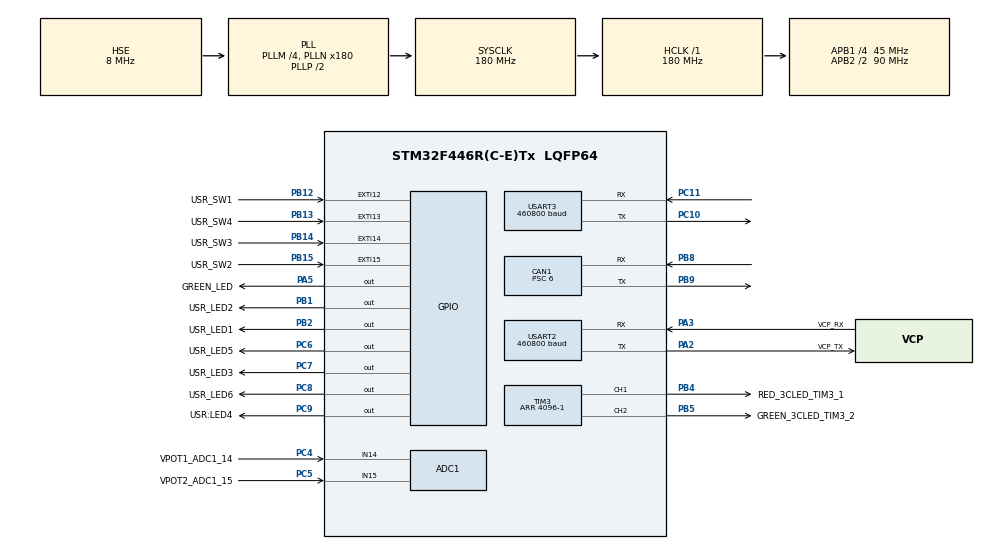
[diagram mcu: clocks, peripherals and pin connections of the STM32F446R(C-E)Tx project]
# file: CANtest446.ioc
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Mcu.Family=STM32F4
NVIC.USART3_IRQn=true\:5\:0\:true\:false\:true\:true\:true
CAN1.NART=ENABLE
PH0-OSC_IN.Signal=RCC_OSC_IN
RCC.CortexFreq_Value=180000000
PC10.Signal=USART3_TX
PB14.GPIO_Label=USR_SW3
PA14.GPIO_Label=SWCLK
PB2.GPIO_Speed=GPIO_SPEED_FREQ_MEDIUM
PC6.GPIO_Label=USR_LED5
PB13.GPIO_Label=USR_SW4
PB13.Signal=GPXTI13
PB15.Signal=GPXTI15
RCC.SYSCLKSource=RCC_SYSCLKSOURCE_PLLCLK
ProjectManager.StackSize=0x400
NVIC.ADC_IRQn=true\:3\:0\:true\:false\:true\:true\:true
TIM1.Prescaler=180-1
USART3.BaudRate=460800
RCC.HCLKFreq_Value=180000000
RCC.APB2TimFreq_Value=180000000
TIM3.Period=4096-1
VP_TIM10_VS_ClockSourceINT.Mode=Enable_Timer
PC7.Signal=GPIO_Output
ADC1.InjNumberOfConversion=2
RCC.AHBFreq_Value=180000000
PH0-OSC_IN.Mode=HSE-External-Oscillator
TIM3.Channel-PWM\ Generation1\ CH1=TIM_CHANNEL_1
NVIC.EXTI15_10_IRQn=true\:8\:0\:true\:false\:true\:true\:true
ADC1.Channel-0\#ChannelRegularConversion=ADC_CHANNEL_14
ADC1.ExternalTrigInjecConv=ADC_EXTERNALTRIGINJECCONV_T1_TRGO
RCC.HSE_VALUE=8000000
PB2.Signal=GPIO_Output
ADC1.ScanConvMode=ENABLE
SH.ADCx_IN15.0=ADC1_IN15,IN15
PB12.GPIO_Label=USR_SW1
PC14-OSC32_IN.Mode=LSE-External-Oscillator
PC4.GPIO_Label=VPOT1_ADC1_14
PB1.GPIO_Speed=GPIO_SPEED_FREQ_MEDIUM
PA14.Mode=Serial_Wire
PB1.GPIO_Label=USR_LED2
SH.S_TIM3_CH1.0=TIM3_CH1,PWM Generation1 CH1
VP_TIM1_VS_ClockSourceINT.Mode=Internal
ADC1.SamplingTime-0\#ChannelRegularConversion=ADC_SAMPLETIME_3CYCLES
RCC.FLatency-AdvancedSettings=FLASH_LATENCY_5
PH1-OSC_OUT.Mode=HSE-External-Oscillator
CAN1.Prescaler=6
Mcu.Package=LQFP64
PB9.Signal=CAN1_TX
PB1.Signal=GPIO_Output
SH.ADCx_IN14.0=ADC1_IN14,IN14
USART2.VirtualMode=VM_ASYNC
ADC1.SamplingTime-1\#ChannelInjectedConversion=ADC_SAMPLETIME_15CYCLES
PA2.GPIO_Label=VCP_TX
PC8.GPIO_Speed=GPIO_SPEED_FREQ_MEDIUM
PC11.Mode=Asynchronous
RCC.APB2CLKDivider=RCC_HCLK_DIV2
PB5.GPIO_Label=GREEN_3CLED_TIM3_2
RCC.APB1TimFreq_Value=90000000
PC5.Signal=ADCx_IN15
TIM1.Period=250-1
CAN1.CalculateTimeBit=1999.99
ADC1.SamplingTime-2\#ChannelInjectedConversion=ADC_SAMPLETIME_15CYCLES
PC6.GPIO_Speed=GPIO_SPEED_FREQ_MEDIUM
ADC1.EOCSelection=ADC_EOC_SEQ_CONV
VP_TIM3_VS_ClockSourceINT.Mode=Internal
PB4.Signal=S_TIM3_CH1
PA3.Signal=USART2_RX
CAN1.CalculateTimeQuantum=133.33333333333331
PB14.GPIO_ModeDefaultEXTI=GPIO_MODE_IT_RISING_FALLING
RCC.PLLSourceVirtual=RCC_PLLSOURCE_HSE
TIM10.Prescaler=18000-1
PC15-OSC32_OUT.Mode=LSE-External-Oscillator
ADC1.Rank-0\#ChannelRegularConversion=1
PC9.GPIO_Label=USR\:LED4
PC11.Signal=USART3_RX
CAN1.CalculateBaudRate=500000
PC8.Signal=GPIO_Output
PC4.Signal=ADCx_IN14
PC6.Signal=GPIO_Output
PC10.Mode=Asynchronous
RCC.APB1CLKDivider=RCC_HCLK_DIV4
PC14-OSC32_IN.Signal=RCC_OSC32_IN
PB13.GPIO_ModeDefaultEXTI=GPIO_MODE_IT_RISING_FALLING
NVIC.USART2_IRQn=true\:4\:0\:true\:false\:true\:true\:true
USART2.BaudRate=460800
PC8.GPIO_Label=USR_LED6
PA3.Mode=Asynchronous
PA13.Signal=SYS_JTMS-SWDIO
CAN1.BS2=CAN_BS2_2TQ
CAN1.BS1=CAN_BS1_12TQ
ProjectManager.TargetToolchain=STM32CubeIDE
ADC1.Channel-2\#ChannelInjectedConversion=ADC_CHANNEL_14
PB9.Mode=CAN_Activate
ADC1.InjectedOffset-2\#ChannelInjectedConversion=0
ADC1.Channel-1\#ChannelInjectedConversion=ADC_CHANNEL_15
RCC.USBFreq_Value=180000000
PC15-OSC32_OUT.Signal=RCC_OSC32_OUT
PB14.Signal=GPXTI14
PA5.Signal=GPIO_Output
SH.S_TIM3_CH2.0=TIM3_CH2,PWM Generation2 CH2
PB15.GPIO_ModeDefaultEXTI=GPIO_MODE_IT_RISING_FALLING
board=NUCLEO-F446RE
PC7.GPIO_Speed=GPIO_SPEED_FREQ_MEDIUM
RCC.VCOOutputFreq_Value=360000000
TIM10.Period=1000-1
TIM1.TIM_MasterOutputTrigger=TIM_TRGO_UPDATE
RCC.APB2Freq_Value=90000000
PB4.GPIO_Label=RED_3CLED_TIM3_1
PB15.GPIO_Label=USR_SW2
ADC1.InjectedOffset-1\#ChannelInjectedConversion=0
PH1-OSC_OUT.Signal=RCC_OSC_OUT
PA13.Mode=Serial_Wire
Mcu.Name=STM32F446R(C-E)Tx
PA2.Signal=USART2_TX
PA13.GPIO_Label=SWDIO
PC7.GPIO_Label=USR_LED3
RCC.48MHZClocksFreq_Value=84000000
RCC.SYSCLKFreq_VALUE=180000000
PB5.Signal=S_TIM3_CH2
ADC1.master=1
PA5.GPIO_Label=GREEN_LED
PC5.GPIO_Label=VPOT2_ADC1_15
USART3.VirtualMode=VM_ASYNC
PA14.Signal=SYS_JTCK-SWCLK
PB2.GPIO_Label=USR_LED1
ProjectManager.HeapSize=0x200
PB12.GPIO_ModeDefaultEXTI=GPIO_MODE_IT_RISING_FALLING
NVIC.TIM1_UP_TIM10_IRQn=true\:1\:0\:true\:false\:true\:true\:true
RCC.HSI_VALUE=16000000
PA5.GPIO_Speed=GPIO_SPEED_FREQ_MEDIUM
PC9.GPIO_Speed=GPIO_SPEED_FREQ_MEDIUM
NVIC.PriorityGroup=NVIC_PRIORITYGROUP_4
ADC1.NbrOfConversionFlag=1
TIM3.Channel-PWM\ Generation2\ CH2=TIM_CHANNEL_2
RCC.PLLM=4
PB8.Mode=CAN_Activate
RCC.PLLN=180
PA2.Mode=Asynchronous
PB8.Signal=CAN1_RX
ADC1.InjectedRank-1\#ChannelInjectedConversion=1
PC9.Signal=GPIO_Output
RCC.APB1Freq_Value=45000000
ADC1.ClockPrescaler=ADC_CLOCK_SYNC_PCLK_DIV8
PB12.Signal=GPXTI12
NVIC.CAN1_RX0_IRQn=true\:2\:0\:true\:false\:true\:true\:true
PA3.GPIO_Label=VCP_RX
ADC1.InjectedRank-2\#ChannelInjectedConversion=2

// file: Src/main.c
/* USER CODE BEGIN Header */
/**
  ******************************************************************************
  * @file           : main.c
  * @brief          : Main program body
  ******************************************************************************
  * @attention
  *
  * <h2><center>&copy; Copyright (c) 2019 STMicroelectronics.
  * All rights reserved.</center></h2>
  *
  * This software component is licensed by ST under BSD 3-Clause license,
  * the "License"; You may not use this file except in compliance with the
  * License. You may obtain a copy of the License at:
  *                        opensource.org/licenses/BSD-3-Clause
  *
  ******************************************************************************
  */
/* USER CODE END Header */
#include "main.h"

/* USER CODE BEGIN Includes */

#include "usart3_itcbuf.h"
#include "adc1_itinj.h"
#include <stdio.h>
#include <string.h>
#include <math.h>

/* USER CODE END Includes */

/* USER CODE BEGIN PD */

#define	CTRLLOOP_PER	4				// Control Loop Period (x TIM1)
#define	SWBLOCK_PER		50				// Switch Block Period (x SysTick)
#define	ERRSIGN_PER		100				// Error Signal Duration (x SysTick)
#define	INMSG_SIZE		64				// Input message size

#define	GREEN_LED		1				// 3-color LED identifier
#define	RED_LED			2				// 3-color LED identifier

#define	OPMODE_NUL		0x00			// Operation Mode
#define	OPMODE_S1		0x01			// Operation Mode
#define	OPMODE_S2		0x02			// Operation Mode
#define	OPMODE_S3		0x04			// Operation Mode
#define	OPMODE_REMOTE	0x08			// Operation Mode
#define	OPMODE_BMASK	0x0F			// Operation Mode

#define	CAN_TXID_POT1	0x011			// CAN Arb. ID for Sending POT1
#define	CAN_TXID_POT2	0x012			// CAN Arb. ID for Sending POT2
#define	CAN_TXID_OPMS	0x013			// CAN Arb. ID for Sending Op.Mode

#define	CAN_RXID_REM1	0x621			// CAN Arb. ID for Receiving REM1
#define	CAN_RXID_REM2	0x622			// CAN Arb. ID for Receiving REM2
#define	CAN_RXID_OPMR	0x623			// CAN Arb. ID for Receiving Op.Mode

/* My code from here */
#define CAN_RXID_RESP_SERVO 	0x689
#define CAN_RXID_RESP_WHEEL1	0x589
#define CAN_RXID_RESP_WHEEL2	0x591
#define CAN_RXID_RESP_WHEEL3	0x599
#define CAN_RXID_RESP_WHEEL4	0x5A1
#define CAN_RXID_STATUS_POWER	0x70C
#define CAN_RXID_MEAS_WHEEL1	0x58B
#define CAN_RXID_MEAS_WHEEL2	0x593
#define CAN_RXID_MEAS_WHEEL3	0x59B
#define CAN_RXID_MEAS_WHEEL4	0x5A3
#define CAN_RXID_MEAS_SERVO		0x68B

#define USR_LED1_PIN GPIO_PIN_8
#define USR_LED2_PIN GPIO_PIN_6
#define USR_LED3_PIN GPIO_PIN_2
#define USR_LED4_PIN GPIO_PIN_1

#define USR_LED1_PORT GPIOC
#define USR_LED2_PORT GPIOC
#define USR_LED3_PORT GPIOB
#define USR_LED4_PORT GPIOB

#define CAN_MESSAGETYPE_COMMAND 0x00
#define CAN_MESSAGETYPE_CONFIG 0x05
#define CAN_MESSAGETYPE_REFERENCE 0x02

#define CMD_DISCOVER 0x90
#define CMD_DRIVE_STATE 0x50
#define CMD_MODE 0x10
#define CMD_VSRV 0x20
#define CMD_HVDC 0x30

#define VSRV_ON 0x01
#define VSRV_OFF 0x02
#define HVDC_ON 0x01
#define HVDC_OFF 0x02

#define MODE_IDLE 0x11
#define MODE_DRIVE 0x12

#define STATE_STOPPED 0x00
#define STATE_STARTED 0x01

#define CFG_CONTROL_MODE 0x01
#define CONTROL_TORQUE 0x01
#define CONTROL_VELOCITY 0x02

/* Steering Servo Communication */
#define SERVO_MODE_START 0x0B
#define SERVO_MODE_IDLE 0xB0

/* USER CODE END PD */

ADC_HandleTypeDef hadc1;

CAN_HandleTypeDef hcan1;

TIM_HandleTypeDef htim1;
TIM_HandleTypeDef htim3;
TIM_HandleTypeDef htim10;

UART_HandleTypeDef huart2;
UART_HandleTypeDef huart3;

/* USER CODE BEGIN PV */
/* Private variables ---------------------------------------------------------*/

volatile uint16_t secCnt = 0;			// Second Counter for SysTick
volatile uint16_t ctrlTick = 0;			// Control Tick Signal
volatile uint16_t ctrlCnt = 0;			// Control Period Counter
volatile uint16_t blinkCnt = 0;			// Blink Period Counter

volatile uint16_t led5signCnt = 0;		// User LED 5 Signal counter
volatile uint16_t led6signCnt = 0;		// User LED 6 Signal counter

volatile uint8_t sw1Block = 0;			// Blocking Period counter for SW1
volatile uint8_t sw2Block = 0;			// Blocking Period counter for SW2
volatile uint8_t sw3Block = 0;			// Blocking Period counter for SW3
volatile uint8_t sw4Block = 0;			// Blocking Period counter for SW4

static uint16_t pot1Val = 0xFFFF;		// Actual value of Potentiometer 1
static uint16_t pot2Val = 0xFFFF;		// Actual value of Potentiometer 2
static uint16_t rem1Val = 0xFFFF;		// Actual Remote value 1
static uint16_t rem2Val = 0xFFFF;		// Actual Remote value 2

static uint8_t inmsgBuf[INMSG_SIZE];	// UART Receive Command Buffer
static uint32_t inmsgPnt = 0;			// UART Receive Command Pointer

TIM_OC_InitTypeDef sConfigOC;			// Config structure for setting TIM3

static uint8_t operMode = OPMODE_NUL;	// Operation Mode
static uint8_t opModeRecv = OPMODE_NUL;	// Operation Mode Received

/* My code from here */
CAN_TxHeaderTypeDef   TxHeader;
CAN_RxHeaderTypeDef   RxHeader;
uint8_t               TxData[8];
uint8_t               RxData[8];
uint32_t              TxMailbox;
uint8_t 			  RxDataUART;

uint8_t TxData[8];
float iRef;
float vRef;

enum state{START1, START2, START3, DRIVE, ERR};
enum state activeState = START1;
enum state prevState = START1;

struct Flag{
	uint16_t DSS : 1;
	uint16_t DW1 : 1;
	uint16_t DW2 : 1;
	uint16_t DW3 : 1;
	uint16_t DW4 : 1;
	uint16_t LV  : 2;
	uint16_t HV  : 2;
};
struct Reference{
	float current;
	float velocity;
	float steeringAngle;
};

struct Measurement {
	float currentW1;
	float currentW2;
	float currentW3;
	float currentW4;
	float velocityW1;
	float velocityW2;
	float velocityW3;
	float velocityW4;
	int16_t angleSS;
};

struct Flag flag;
struct Reference ref;
struct Measurement meas;

/*-----	Memory constants -----------------------------------------------------*/

static const char greetMsg[] = "\r\n\n-- 4WD e-Vehicle --\n\r";

/* USER CODE END PV */

void SystemClock_Config(void);
static void MX_GPIO_Init(void);
static void MX_ADC1_Init(void);
static void MX_CAN1_Init(void);
static void MX_USART2_UART_Init(void);
static void MX_TIM1_Init(void);
static void MX_USART3_UART_Init(void);
static void MX_TIM3_Init(void);
static void MX_TIM10_Init(void);
/* USER CODE BEGIN PFP */

void Operate3colorLED(int led, uint16_t intens);
void SendOperModeToCAN(void);
void UpdateOperModeLEDs(void);

/* My code from here */
void CAN1_Tx(uint8_t *data, uint8_t DLC, uint16_t ID);
void ConfigureWheelDrive(uint16_t wheel, uint16_t controlMode, uint16_t mode, uint16_t driveState);
void ConfigureSteeringServo(uint8_t mode);
void SendWheelReferenceMsg(uint8_t deviceID, float iRef, float vRef);
void SendServoReferenceMsg();
void ConfigureServoNullpoint();
void Ackermann();
void DiscoverUnits();
void StateTransition();
void UART2_RX();
uint32_t CANid(uint16_t class, uint16_t device, uint16_t type);

/* USER CODE END PFP */

int main(void)
{
  /* USER CODE BEGIN 1 */
  int status;
  uint16_t value;
  char message[18];
  uint8_t rch;
  int ch;
  uint16_t uarg;
  uint16_t timer_val;

  /* USER CODE END 1 */

  /* MCU Configuration--------------------------------------------------------*/

  /* Reset of all peripherals, Initializes the Flash interface and the Systick. */
  HAL_Init();

  /* Configure the system clock */
  SystemClock_Config();

  /* Initialize all configured peripherals */
  MX_GPIO_Init();
  MX_ADC1_Init();
  MX_CAN1_Init();
  MX_USART2_UART_Init();
  MX_TIM1_Init();
  MX_USART3_UART_Init();
  MX_TIM3_Init();
  MX_TIM10_Init();
  /* USER CODE BEGIN 2 */

	HAL_TIM_PWM_Start(&htim3, TIM_CHANNEL_1);
	HAL_TIM_PWM_Start(&htim3, TIM_CHANNEL_2);
	sConfigOC.OCMode = TIM_OCMODE_PWM1;
	sConfigOC.OCPolarity = TIM_OCPOLARITY_HIGH;
	sConfigOC.OCFastMode = TIM_OCFAST_DISABLE;
	sConfigOC.OCIdleState = TIM_OCIDLESTATE_RESET;

	HAL_TIM_Base_Start_IT(&htim1);
	InitADCmodule();

	StartUARTCommunication();
	PutsTxData((uint8_t*)greetMsg,strlen(greetMsg));
	sprintf(message,"State: START1 \n\r");
	PutsTxData((uint8_t *)message,strlen(message));

	HAL_CAN_ActivateNotification(&hcan1, CAN_IT_RX_FIFO0_MSG_PENDING);

	ref.velocity = 0;
	ref.current = 0;
	ref.steeringAngle = 0;

	meas.angleSS = 0;
	meas.currentW1 = 0;
	meas.currentW2 = 0;
	meas.currentW3 = 0;
	meas.currentW4 = 0;
	meas.velocityW1 = 0;
	meas.velocityW2 = 0;
	meas.velocityW3 = 0;
	meas.velocityW4 = 0;

  /* USER CODE END 2 */

  /* Infinite loop */
  /* USER CODE BEGIN WHILE */
  while (1)
  {
	// Waiting for Control Tick signal
	//while (ctrlTick == 0) continue;
	//ctrlTick = 0;

	/* My code from here */
	if (prevState != activeState) StateTransition();
	prevState = activeState;

	switch (activeState){
		case START1:
			/* Turn on VSRV */
			TxData[0] = CMD_VSRV;
			TxData[1] = VSRV_ON;
			CAN1_Tx(TxData, 2, CANid(0x0E, 0x01, 0x0));
			HAL_Delay(1500);

			/* Turn on HVDC */
			TxData[0] = CMD_HVDC;
			TxData[1] = HVDC_ON;
			CAN1_Tx(TxData, 2, CANid(0x0E,0x01,0x00));
			HAL_Delay(1500);

/*---------------------DELETE AFTER DEBUG----------------------------------------------------------------------------------------------------- */
			flag.LV = 1;
			flag.HV = 1;
/*---------------------DELETE AFTER DEBUG----------------------------------------------------------------------------------------------------- */
			if (flag.LV == 1 && flag.HV == 1) activeState = START2;
			else activeState = ERR;
			break;

		case START2:
			DiscoverUnits();
			HAL_Delay(1000);

/*---------------------DELETE AFTER DEBUG----------------------------------------------------------------------------------------------------- */
			flag.DSS = 1;
			flag.DW1 = 1;
			flag.DW2 = 1;
			flag.DW3 = 1;
			flag.DW4 = 1;
/*---------------------DELETE AFTER DEBUG----------------------------------------------------------------------------------------------------- */

			if (flag.DSS && flag.DW1 && flag.DW2 && flag.DW3 && flag.DW4) activeState = START3;
			else activeState = ERR;
			break;

		case START3:
			ConfigureSteeringServo(SERVO_MODE_START);

			ConfigureWheelDrive(0x01, CONTROL_VELOCITY, MODE_DRIVE, STATE_STARTED); /* FR */
			ConfigureWheelDrive(0x02, CONTROL_VELOCITY, MODE_DRIVE, STATE_STARTED); /* FL */
			ConfigureWheelDrive(0x03, CONTROL_VELOCITY, MODE_DRIVE, STATE_STARTED); /* RL */
			ConfigureWheelDrive(0x04, CONTROL_VELOCITY, MODE_DRIVE, STATE_STARTED); /* RR */

			// check if measurement data is coming in
			activeState = DRIVE;
			break;

		case DRIVE:
			// Start timer for periodic reference messages
			HAL_TIM_Base_Start_IT(&htim10);

			break;
		case ERR:
			ConfigureSteeringServo(SERVO_MODE_IDLE);

			ConfigureWheelDrive(0x01, CONTROL_VELOCITY, MODE_DRIVE, STATE_STOPPED); /* FR */
			ConfigureWheelDrive(0x02, CONTROL_VELOCITY, MODE_DRIVE, STATE_STOPPED); /* FL */
			ConfigureWheelDrive(0x03, CONTROL_VELOCITY, MODE_DRIVE, STATE_STOPPED); /* RL */
			ConfigureWheelDrive(0x04, CONTROL_VELOCITY, MODE_DRIVE, STATE_STOPPED); /* RR */

			HAL_TIM_Base_Stop_IT(&htim10);
			break;

	}
    /* USER CODE END WHILE */

  }
}

void SystemClock_Config(void)
{
  RCC_OscInitTypeDef RCC_OscInitStruct = {0};
  RCC_ClkInitTypeDef RCC_ClkInitStruct = {0};

  /** Configure the main internal regulator output voltage
  */
  __HAL_RCC_PWR_CLK_ENABLE();
  __HAL_PWR_VOLTAGESCALING_CONFIG(PWR_REGULATOR_VOLTAGE_SCALE1);
  /** Initializes the RCC Oscillators according to the specified parameters
  * in the RCC_OscInitTypeDef structure.
  */
  RCC_OscInitStruct.OscillatorType = RCC_OSCILLATORTYPE_HSE;
  RCC_OscInitStruct.HSEState = RCC_HSE_ON;
  RCC_OscInitStruct.PLL.PLLState = RCC_PLL_ON;
  RCC_OscInitStruct.PLL.PLLSource = RCC_PLLSOURCE_HSE;
  RCC_OscInitStruct.PLL.PLLM = 4;
  RCC_OscInitStruct.PLL.PLLN = 180;
  RCC_OscInitStruct.PLL.PLLP = RCC_PLLP_DIV2;
  RCC_OscInitStruct.PLL.PLLQ = 2;
  RCC_OscInitStruct.PLL.PLLR = 2;
  if (HAL_RCC_OscConfig(&RCC_OscInitStruct) != HAL_OK)
  {
    Error_Handler();
  }
  /** Activate the Over-Drive mode
  */
  if (HAL_PWREx_EnableOverDrive() != HAL_OK)
  {
    Error_Handler();
  }
  /** Initializes the CPU, AHB and APB buses clocks
  */
  RCC_ClkInitStruct.ClockType = RCC_CLOCKTYPE_HCLK|RCC_CLOCKTYPE_SYSCLK
                              |RCC_CLOCKTYPE_PCLK1|RCC_CLOCKTYPE_PCLK2;
  RCC_ClkInitStruct.SYSCLKSource = RCC_SYSCLKSOURCE_PLLCLK;
  RCC_ClkInitStruct.AHBCLKDivider = RCC_SYSCLK_DIV1;
  RCC_ClkInitStruct.APB1CLKDivider = RCC_HCLK_DIV4;
  RCC_ClkInitStruct.APB2CLKDivider = RCC_HCLK_DIV2;

  if (HAL_RCC_ClockConfig(&RCC_ClkInitStruct, FLASH_LATENCY_5) != HAL_OK)
  {
    Error_Handler();
  }
}

static void MX_ADC1_Init(void)
{

  ADC_ChannelConfTypeDef sConfig = {0};
  ADC_InjectionConfTypeDef sConfigInjected = {0};

  /** Configure the global features of the ADC (Clock, Resolution, Data Alignment and number of conversion)
  */
  hadc1.Instance = ADC1;
  hadc1.Init.ClockPrescaler = ADC_CLOCK_SYNC_PCLK_DIV8;
  hadc1.Init.Resolution = ADC_RESOLUTION_12B;
  hadc1.Init.ScanConvMode = ENABLE;
  hadc1.Init.ContinuousConvMode = DISABLE;
  hadc1.Init.DiscontinuousConvMode = DISABLE;
  hadc1.Init.ExternalTrigConvEdge = ADC_EXTERNALTRIGCONVEDGE_NONE;
  hadc1.Init.ExternalTrigConv = ADC_SOFTWARE_START;
  hadc1.Init.DataAlign = ADC_DATAALIGN_RIGHT;
  hadc1.Init.NbrOfConversion = 1;
  hadc1.Init.DMAContinuousRequests = DISABLE;
  hadc1.Init.EOCSelection = ADC_EOC_SEQ_CONV;
  if (HAL_ADC_Init(&hadc1) != HAL_OK)
  {
    Error_Handler();
  }
  /** Configure for the selected ADC regular channel its corresponding rank in the sequencer and its sample time.
  */
  sConfig.Channel = ADC_CHANNEL_14;
  sConfig.Rank = 1;
  sConfig.SamplingTime = ADC_SAMPLETIME_3CYCLES;
  if (HAL_ADC_ConfigChannel(&hadc1, &sConfig) != HAL_OK)
  {
    Error_Handler();
  }
  /** Configures for the selected ADC injected channel its corresponding rank in the sequencer and its sample time
  */
  sConfigInjected.InjectedChannel = ADC_CHANNEL_15;
  sConfigInjected.InjectedRank = 1;
  sConfigInjected.InjectedNbrOfConversion = 2;
  sConfigInjected.InjectedSamplingTime = ADC_SAMPLETIME_15CYCLES;
  sConfigInjected.ExternalTrigInjecConvEdge = ADC_EXTERNALTRIGINJECCONVEDGE_RISING;
  sConfigInjected.ExternalTrigInjecConv = ADC_EXTERNALTRIGINJECCONV_T1_TRGO;
  sConfigInjected.AutoInjectedConv = DISABLE;
  sConfigInjected.InjectedDiscontinuousConvMode = DISABLE;
  sConfigInjected.InjectedOffset = 0;
  if (HAL_ADCEx_InjectedConfigChannel(&hadc1, &sConfigInjected) != HAL_OK)
  {
    Error_Handler();
  }
  /** Configures for the selected ADC injected channel its corresponding rank in the sequencer and its sample time
  */
  sConfigInjected.InjectedChannel = ADC_CHANNEL_14;
  sConfigInjected.InjectedRank = 2;
  if (HAL_ADCEx_InjectedConfigChannel(&hadc1, &sConfigInjected) != HAL_OK)
  {
    Error_Handler();
  }

}

static void MX_CAN1_Init(void)
{

  /* USER CODE BEGIN CAN1_Init 0 */
  CAN_FilterTypeDef  sFilterConfig;

  /* USER CODE END CAN1_Init 0 */

  hcan1.Instance = CAN1;
  hcan1.Init.Prescaler = 6;
  hcan1.Init.Mode = CAN_MODE_NORMAL;
  hcan1.Init.SyncJumpWidth = CAN_SJW_1TQ;
  hcan1.Init.TimeSeg1 = CAN_BS1_12TQ;
  hcan1.Init.TimeSeg2 = CAN_BS2_2TQ;
  hcan1.Init.TimeTriggeredMode = DISABLE;
  hcan1.Init.AutoBusOff = DISABLE;
  hcan1.Init.AutoWakeUp = DISABLE;
  hcan1.Init.AutoRetransmission = ENABLE;
  hcan1.Init.ReceiveFifoLocked = DISABLE;
  hcan1.Init.TransmitFifoPriority = DISABLE;
  if (HAL_CAN_Init(&hcan1) != HAL_OK)
  {
    Error_Handler();
  }
  /* USER CODE BEGIN CAN1_Init 2 */

  // Filter Configuration for RX_FIFO0

  sFilterConfig.FilterBank = 0;
  sFilterConfig.FilterMode = CAN_FILTERMODE_IDMASK;
  sFilterConfig.FilterScale = CAN_FILTERSCALE_32BIT;
  sFilterConfig.FilterIdHigh = 0x0000;
  sFilterConfig.FilterIdLow = 0x0000;
  sFilterConfig.FilterMaskIdHigh = 0x0000;
  sFilterConfig.FilterMaskIdLow = 0x0000;
  sFilterConfig.FilterFIFOAssignment = CAN_RX_FIFO0;
  sFilterConfig.FilterActivation = ENABLE;
  sFilterConfig.SlaveStartFilterBank = 14;

  if (HAL_CAN_ConfigFilter(&hcan1, &sFilterConfig) != HAL_OK)
	{
	  /* Filter configuration Error */
	  Error_Handler();
	}

  // Starting CAN

  if (HAL_CAN_Start(&hcan1) != HAL_OK)
    {
      /* Start Error */
      Error_Handler();
    }

  // Starting CAN RX process

  if (HAL_CAN_ActivateNotification(&hcan1, CAN_IT_RX_FIFO0_MSG_PENDING) != HAL_OK)
    {
	  /* Notification Error */
	  Error_Handler();
    }

  // Preparing for CAN TX

  TxHeader.RTR = CAN_RTR_DATA;
  TxHeader.IDE = CAN_ID_STD;
  TxHeader.DLC = 0;
  TxHeader.TransmitGlobalTime = DISABLE;

  /* USER CODE END CAN1_Init 2 */

}

static void MX_TIM1_Init(void)
{

  TIM_ClockConfigTypeDef sClockSourceConfig = {0};
  TIM_MasterConfigTypeDef sMasterConfig = {0};

  htim1.Instance = TIM1;
  htim1.Init.Prescaler = 180-1;
  htim1.Init.CounterMode = TIM_COUNTERMODE_UP;
  htim1.Init.Period = 250-1;
  htim1.Init.ClockDivision = TIM_CLOCKDIVISION_DIV1;
  htim1.Init.RepetitionCounter = 0;
  htim1.Init.AutoReloadPreload = TIM_AUTORELOAD_PRELOAD_DISABLE;
  if (HAL_TIM_Base_Init(&htim1) != HAL_OK)
  {
    Error_Handler();
  }
  sClockSourceConfig.ClockSource = TIM_CLOCKSOURCE_INTERNAL;
  if (HAL_TIM_ConfigClockSource(&htim1, &sClockSourceConfig) != HAL_OK)
  {
    Error_Handler();
  }
  sMasterConfig.MasterOutputTrigger = TIM_TRGO_UPDATE;
  sMasterConfig.MasterSlaveMode = TIM_MASTERSLAVEMODE_DISABLE;
  if (HAL_TIMEx_MasterConfigSynchronization(&htim1, &sMasterConfig) != HAL_OK)
  {
    Error_Handler();
  }

}

static void MX_TIM3_Init(void)
{

  TIM_ClockConfigTypeDef sClockSourceConfig = {0};
  TIM_MasterConfigTypeDef sMasterConfig = {0};
  TIM_OC_InitTypeDef sConfigOC = {0};

  htim3.Instance = TIM3;
  htim3.Init.Prescaler = 0;
  htim3.Init.CounterMode = TIM_COUNTERMODE_UP;
  htim3.Init.Period = 4096-1;
  htim3.Init.ClockDivision = TIM_CLOCKDIVISION_DIV1;
  htim3.Init.AutoReloadPreload = TIM_AUTORELOAD_PRELOAD_DISABLE;
  if (HAL_TIM_Base_Init(&htim3) != HAL_OK)
  {
    Error_Handler();
  }
  sClockSourceConfig.ClockSource = TIM_CLOCKSOURCE_INTERNAL;
  if (HAL_TIM_ConfigClockSource(&htim3, &sClockSourceConfig) != HAL_OK)
  {
    Error_Handler();
  }
  if (HAL_TIM_PWM_Init(&htim3) != HAL_OK)
  {
    Error_Handler();
  }
  sMasterConfig.MasterOutputTrigger = TIM_TRGO_RESET;
  sMasterConfig.MasterSlaveMode = TIM_MASTERSLAVEMODE_DISABLE;
  if (HAL_TIMEx_MasterConfigSynchronization(&htim3, &sMasterConfig) != HAL_OK)
  {
    Error_Handler();
  }
  sConfigOC.OCMode = TIM_OCMODE_PWM1;
  sConfigOC.Pulse = 0;
  sConfigOC.OCPolarity = TIM_OCPOLARITY_HIGH;
  sConfigOC.OCFastMode = TIM_OCFAST_DISABLE;
  if (HAL_TIM_PWM_ConfigChannel(&htim3, &sConfigOC, TIM_CHANNEL_1) != HAL_OK)
  {
    Error_Handler();
  }
  if (HAL_TIM_PWM_ConfigChannel(&htim3, &sConfigOC, TIM_CHANNEL_2) != HAL_OK)
  {
    Error_Handler();
  }
  HAL_TIM_MspPostInit(&htim3);

}

static void MX_TIM10_Init(void)
{

  htim10.Instance = TIM10;
  htim10.Init.Prescaler = 18000-1;
  htim10.Init.CounterMode = TIM_COUNTERMODE_UP;
  htim10.Init.Period = 1000-1;
  htim10.Init.ClockDivision = TIM_CLOCKDIVISION_DIV1;
  htim10.Init.AutoReloadPreload = TIM_AUTORELOAD_PRELOAD_DISABLE;
  if (HAL_TIM_Base_Init(&htim10) != HAL_OK)
  {
    Error_Handler();
  }

}

static void MX_USART2_UART_Init(void)
{

  huart2.Instance = USART2;
  huart2.Init.BaudRate = 460800;
  huart2.Init.WordLength = UART_WORDLENGTH_8B;
  huart2.Init.StopBits = UART_STOPBITS_1;
  huart2.Init.Parity = UART_PARITY_NONE;
  huart2.Init.Mode = UART_MODE_TX_RX;
  huart2.Init.HwFlowCtl = UART_HWCONTROL_NONE;
  huart2.Init.OverSampling = UART_OVERSAMPLING_16;
  if (HAL_UART_Init(&huart2) != HAL_OK)
  {
    Error_Handler();
  }

}

static void MX_USART3_UART_Init(void)
{

  huart3.Instance = USART3;
  huart3.Init.BaudRate = 460800;
  huart3.Init.WordLength = UART_WORDLENGTH_8B;
  huart3.Init.StopBits = UART_STOPBITS_1;
  huart3.Init.Parity = UART_PARITY_NONE;
  huart3.Init.Mode = UART_MODE_TX_RX;
  huart3.Init.HwFlowCtl = UART_HWCONTROL_NONE;
  huart3.Init.OverSampling = UART_OVERSAMPLING_16;
  if (HAL_UART_Init(&huart3) != HAL_OK)
  {
    Error_Handler();
  }

}

static void MX_GPIO_Init(void)
{
  GPIO_InitTypeDef GPIO_InitStruct = {0};

  /* GPIO Ports Clock Enable */
  __HAL_RCC_GPIOC_CLK_ENABLE();
  __HAL_RCC_GPIOH_CLK_ENABLE();
  __HAL_RCC_GPIOA_CLK_ENABLE();
  __HAL_RCC_GPIOB_CLK_ENABLE();

  /*Configure GPIO pin Output Level */
  HAL_GPIO_WritePin(GREEN_LED_GPIO_Port, GREEN_LED_Pin, GPIO_PIN_RESET);

  /*Configure GPIO pin Output Level */
  HAL_GPIO_WritePin(GPIOB, USR_LED2_Pin|USR_LED1_Pin, GPIO_PIN_RESET);

  /*Configure GPIO pin Output Level */
  HAL_GPIO_WritePin(GPIOC, USR_LED5_Pin|USR_LED3_Pin|USR_LED6_Pin|USR_LED4_Pin, GPIO_PIN_RESET);

  /*Configure GPIO pin : GREEN_LED_Pin */
  GPIO_InitStruct.Pin = GREEN_LED_Pin;
  GPIO_InitStruct.Mode = GPIO_MODE_OUTPUT_PP;
  GPIO_InitStruct.Pull = GPIO_NOPULL;
  GPIO_InitStruct.Speed = GPIO_SPEED_FREQ_MEDIUM;
  HAL_GPIO_Init(GREEN_LED_GPIO_Port, &GPIO_InitStruct);

  /*Configure GPIO pins : USR_LED2_Pin USR_LED1_Pin */
  GPIO_InitStruct.Pin = USR_LED2_Pin|USR_LED1_Pin;
  GPIO_InitStruct.Mode = GPIO_MODE_OUTPUT_PP;
  GPIO_InitStruct.Pull = GPIO_NOPULL;
  GPIO_InitStruct.Speed = GPIO_SPEED_FREQ_MEDIUM;
  HAL_GPIO_Init(GPIOB, &GPIO_InitStruct);

  /*Configure GPIO pins : USR_SW1_Pin USR_SW4_Pin USR_SW3_Pin USR_SW2_Pin */
  GPIO_InitStruct.Pin = USR_SW1_Pin|USR_SW4_Pin|USR_SW3_Pin|USR_SW2_Pin;
  GPIO_InitStruct.Mode = GPIO_MODE_IT_RISING_FALLING;
  GPIO_InitStruct.Pull = GPIO_NOPULL;
  HAL_GPIO_Init(GPIOB, &GPIO_InitStruct);

  /*Configure GPIO pins : USR_LED5_Pin USR_LED3_Pin USR_LED6_Pin USR_LED4_Pin */
  GPIO_InitStruct.Pin = USR_LED5_Pin|USR_LED3_Pin|USR_LED6_Pin|USR_LED4_Pin;
  GPIO_InitStruct.Mode = GPIO_MODE_OUTPUT_PP;
  GPIO_InitStruct.Pull = GPIO_NOPULL;
  GPIO_InitStruct.Speed = GPIO_SPEED_FREQ_MEDIUM;
  HAL_GPIO_Init(GPIOC, &GPIO_InitStruct);

  /* EXTI interrupt init*/
  HAL_NVIC_SetPriority(EXTI15_10_IRQn, 8, 0);
  HAL_NVIC_EnableIRQ(EXTI15_10_IRQn);

}

/* USER CODE BEGIN 4 */

/**
  * @brief  SYSTICK callback.
  * @retval None
  */
void HAL_SYSTICK_Callback(void)
{
  char message[8];

	secCnt++;
	if (secCnt == 500)
	  {
		HAL_GPIO_WritePin(GREEN_LED_GPIO_Port,GREEN_LED_Pin,GPIO_PIN_SET);
	  }
	if (secCnt >= 1000)
	  {
		HAL_GPIO_WritePin(GREEN_LED_GPIO_Port,GREEN_LED_Pin,GPIO_PIN_RESET);
		secCnt = 0;
	  }
	// Handling LED Signals
	if (led5signCnt > 0)
	  {
		if (led5signCnt == 1)
		  {
			HAL_GPIO_WritePin(USR_LED5_GPIO_Port,USR_LED5_Pin,GPIO_PIN_RESET);
		  }
		led5signCnt--;
	  }
	if (led6signCnt > 0)
	  {
		if (led6signCnt == 1)
		  {
			HAL_GPIO_WritePin(USR_LED6_GPIO_Port,USR_LED6_Pin,GPIO_PIN_RESET);
		  }
		led6signCnt--;
	  }
	// Handling Switch (pushbutton) actions
	if (sw1Block > 0)
	  {
		if (sw1Block == 1)
		  {
			if (HAL_GPIO_ReadPin(USR_SW1_GPIO_Port,USR_SW1_Pin))
			  {
				// Pushbutton released
			  }
			else
			  {
				// Pushbutton pressed
				if ((operMode  & OPMODE_S1) != 0)
				  {
					operMode &= ~OPMODE_S1;
					HAL_GPIO_WritePin(USR_LED1_GPIO_Port,USR_LED1_Pin,GPIO_PIN_RESET);
				  }
				else
				  {
					operMode |= OPMODE_S1;
					HAL_GPIO_WritePin(USR_LED1_GPIO_Port,USR_LED1_Pin,GPIO_PIN_SET);
				  }
			  }
			sprintf(message,"$M%2X\r\n",operMode);
//			PutsTxData((uint8_t *)message,strlen(message));
			SendOperModeToCAN();
		  }
		sw1Block--;
	  }
	if (sw2Block > 0)
	  {
		if (sw2Block == 1)
		  {
			if (HAL_GPIO_ReadPin(USR_SW2_GPIO_Port,USR_SW2_Pin))
			  {
				// Pushbutton released
			  }
			else
			  {
				// Pushbutton pressed
				if ((operMode  & OPMODE_S2) != 0)
				  {
					operMode &= ~OPMODE_S2;
					HAL_GPIO_WritePin(USR_LED2_GPIO_Port,USR_LED2_Pin,GPIO_PIN_RESET);
				  }
				else
				  {
					operMode |= OPMODE_S2;
					HAL_GPIO_WritePin(USR_LED2_GPIO_Port,USR_LED2_Pin,GPIO_PIN_SET);
				  }
			  }
			sprintf(message,"$M%2X\r\n",operMode);
//			PutsTxData((uint8_t *)message,strlen(message));
			SendOperModeToCAN();
		  }
		sw2Block--;
	  }
	if (sw3Block > 0)
	  {
		if (sw3Block == 1)
		  {
			if (HAL_GPIO_ReadPin(USR_SW3_GPIO_Port,USR_SW3_Pin))
			  {
				// Pushbutton released
			  }
			else
			  {
				// Pushbutton pressed
				if ((operMode  & OPMODE_S3) != 0)
				  {
					operMode &= ~OPMODE_S3;
					HAL_GPIO_WritePin(USR_LED3_GPIO_Port,USR_LED3_Pin,GPIO_PIN_RESET);
				  }
				else
				  {
					operMode |= OPMODE_S3;
					HAL_GPIO_WritePin(USR_LED3_GPIO_Port,USR_LED3_Pin,GPIO_PIN_SET);
				  }
			  }
			sprintf(message,"$M%2X\r\n",operMode);
			PutsTxData((uint8_t *)message,strlen(message));
			SendOperModeToCAN();
		  }
		sw3Block--;
	  }
	if (sw4Block > 0)
	  {
		if (sw4Block == 1)
		  {
			if (HAL_GPIO_ReadPin(USR_SW4_GPIO_Port,USR_SW4_Pin))
			  {
				// Pushbutton released
			  }
			else
			  {
				// Pushbutton pressed
				if ((operMode  & OPMODE_REMOTE) != 0)
				  {
					operMode &= ~OPMODE_REMOTE;
					HAL_GPIO_WritePin(USR_LED4_GPIO_Port,USR_LED4_Pin,GPIO_PIN_RESET);
					Operate3colorLED(GREEN_LED, pot1Val);
					Operate3colorLED(RED_LED, pot2Val);
				  }
				else
				  {
					operMode |= OPMODE_REMOTE;
					HAL_GPIO_WritePin(USR_LED4_GPIO_Port,USR_LED4_Pin,GPIO_PIN_SET);
					Operate3colorLED(GREEN_LED, rem1Val);
					Operate3colorLED(RED_LED, rem2Val);
				  }
				sprintf(message,"$M%2X\r\n",operMode);
				PutsTxData((uint8_t *)message,strlen(message));
				SendOperModeToCAN();
			  }
		  }
		sw4Block--;
	  }
}

/**
  * @brief  Period elapsed callback in non blocking mode
  * @param  htim pointer to a TIM_HandleTypeDef structure that contains
  *                the configuration information for TIM module.
  * @retval None
  */

/**
  * @brief  EXTI line detection callback.
  * @param  GPIO_Pin Specifies the port pin connected to corresponding EXTI line.
  * @retval None
  */
void HAL_GPIO_EXTI_Callback(uint16_t GPIO_Pin)
{
	switch(GPIO_Pin)
	  {
		case USR_SW1_Pin:
			sw1Block = SWBLOCK_PER;
			break;
		case USR_SW2_Pin:
			sw2Block = SWBLOCK_PER;
			break;
		case USR_SW3_Pin:
			sw3Block = SWBLOCK_PER;
			break;
		case USR_SW4_Pin:
			sw4Block = SWBLOCK_PER;
			break;
		default:;
	  }
}

/**
  * @brief  Rx FIFO 0 message pending callback.
  * @param  hcan pointer to a CAN_HandleTypeDef structure that contains
  *         the configuration information for the specified CAN.
  * @retval None
  */
void HAL_CAN_RxFifo0MsgPendingCallback(CAN_HandleTypeDef *hcan)
{
  uint16_t uval16;

	if (HAL_CAN_GetRxMessage(&hcan1, CAN_RX_FIFO0, &RxHeader, RxData) != HAL_OK)
      {
		/* Reception Error */
		Error_Handler();
		return;
      }
	if (RxHeader.IDE == CAN_ID_STD)
      {
		switch (RxHeader.StdId)
	      {
			case CAN_RXID_RESP_SERVO:
				flag.DSS = 1;
				break;
			case CAN_RXID_RESP_WHEEL1:
				flag.DW1 = 1;
				break;
			case CAN_RXID_RESP_WHEEL2:
				flag.DW2 = 1;
				break;
			case CAN_RXID_RESP_WHEEL3:
				flag.DW3 = 1;
				break;
			case CAN_RXID_RESP_WHEEL4:
				flag.DW4 = 1;
				break;
			case CAN_RXID_STATUS_POWER:
				if (RxHeader.DLC == 3){
					flag.LV = RxData[1];
					flag.HV = RxData[2];
					}
				break;
			case CAN_RXID_MEAS_WHEEL1:
				if (RxHeader.DLC == 8){
					memcpy((void*)&meas.currentW1, (float*)&RxData[0],4);
					memcpy((void*)&meas.velocityW1, (float*)&RxData[4],4);
				}
				break;
			case CAN_RXID_MEAS_WHEEL2:
				if (RxHeader.DLC == 8){
					memcpy((void*)&meas.currentW2, (float*)&RxData[0],4);
					memcpy((void*)&meas.velocityW2, (float*)&RxData[4],4);
				}
				break;
			case CAN_RXID_MEAS_WHEEL3:
				if (RxHeader.DLC == 8){
					memcpy((void*)&meas.currentW3, (float*)&RxData[0],4);
					memcpy((void*)&meas.velocityW3, (float*)&RxData[4],4);
				}
				break;
			case CAN_RXID_MEAS_WHEEL4:
				if (RxHeader.DLC == 8){
					memcpy((void*)&meas.currentW4, (float*)&RxData[0],4);
					memcpy((void*)&meas.velocityW4, (float*)&RxData[4],4);
				}
				break;
			case CAN_RXID_MEAS_SERVO:
				if (RxHeader.DLC == 6){
					memcpy((void*)&meas.angleSS, (uint16_t*)&RxData[0],2);
				}
	  		case CAN_RXID_REM1:
	  	  		if (RxHeader.DLC == 2)
	  	  		  {
	  	  			((uint8_t *)&uval16)[0] = RxData[0];
	  	  			((uint8_t *)&uval16)[1] = RxData[1];
	  	  			if (uval16 != rem1Val)
		  	  		  {
						rem1Val = uval16;
						if ((operMode & OPMODE_REMOTE) != 0)
							Operate3colorLED(GREEN_LED, uval16);
		  	  		  }
	  	  		  }
	  	  		break;
	  		case CAN_RXID_REM2:
	  	  		if (RxHeader.DLC == 2)
	  	  		  {
	  	  			((uint8_t *)&uval16)[0] = RxData[0];
	  	  			((uint8_t *)&uval16)[1] = RxData[1];
	  	  			if (uval16 != rem2Val)
		  	  		  {
						rem2Val = uval16;
						if ((operMode & OPMODE_REMOTE) != 0)
							Operate3colorLED(RED_LED, uval16);
		  	  		  }
	  	  		  }
	  	  		break;
	  		case CAN_RXID_OPMR:
	  	  		if (RxHeader.DLC == 1)
	  	  		  {
	  	  			operMode = RxData[0] & OPMODE_BMASK;
	  	  			UpdateOperModeLEDs();
	  	  		  }
	  	  		break;
	  		default:;
		  }
      }
}

/**
  * @brief  Generating USART Communication Error Message.
  *
  * @retval None
  */
void COMerrorSignal()
{
	HAL_GPIO_WritePin(USR_LED5_GPIO_Port,USR_LED5_Pin,GPIO_PIN_SET);
	led5signCnt = ERRSIGN_PER;
}

/**
  * @brief  Generating Command Error Message.
  *
  * @retval None
  */
void CMDerrorSignal()
{
	char message[19];
	sprintf(message,"Invalid command\r\n");
	PutsTxData((uint8_t *)message,strlen(message));
}

/**
  * @brief  Updating Operation Mode LEDs.
  * @param  none
  * @retval None
  */
void UpdateOperModeLEDs()
{
	if ((operMode & OPMODE_S1) != 0)
		HAL_GPIO_WritePin(USR_LED1_GPIO_Port,USR_LED1_Pin,GPIO_PIN_SET);
	else
		HAL_GPIO_WritePin(USR_LED1_GPIO_Port,USR_LED1_Pin,GPIO_PIN_RESET);
	if ((operMode & OPMODE_S2) != 0)
		HAL_GPIO_WritePin(USR_LED2_GPIO_Port,USR_LED2_Pin,GPIO_PIN_SET);
	else
		HAL_GPIO_WritePin(USR_LED2_GPIO_Port,USR_LED2_Pin,GPIO_PIN_RESET);
	if ((operMode & OPMODE_S3) != 0)
		HAL_GPIO_WritePin(USR_LED3_GPIO_Port,USR_LED3_Pin,GPIO_PIN_SET);
	else
		HAL_GPIO_WritePin(USR_LED3_GPIO_Port,USR_LED3_Pin,GPIO_PIN_RESET);
	if ((operMode & OPMODE_REMOTE) != 0)
		HAL_GPIO_WritePin(USR_LED4_GPIO_Port,USR_LED4_Pin,GPIO_PIN_SET);
	else
		HAL_GPIO_WritePin(USR_LED4_GPIO_Port,USR_LED4_Pin,GPIO_PIN_RESET);
}

/**
  * @brief  3-color LED operation.
  * @param  led		3-color LED identifier RED or GREEN
  * @param  intens	3-color LED intensity 0 <= intens < 4096
  * @retval None
  */
void Operate3colorLED(int led, uint16_t intens)
{
	sConfigOC.Pulse = intens;
	switch (led)
	  {
		case GREEN_LED:
			HAL_TIM_PWM_ConfigChannel(&htim3, &sConfigOC, TIM_CHANNEL_1);
			HAL_TIM_PWM_Start(&htim3, TIM_CHANNEL_1);
			break;
		case RED_LED:
			HAL_TIM_PWM_ConfigChannel(&htim3, &sConfigOC, TIM_CHANNEL_2);
			HAL_TIM_PWM_Start(&htim3, TIM_CHANNEL_2);
			break;
		default:;
	  }
}

/**
  * @brief  Sending Operation Mode to CAN
  * @retval None
  */
void SendOperModeToCAN()
{
	TxHeader.StdId = CAN_TXID_OPMS;
	TxHeader.DLC = 1;
	TxData[0] = operMode;
	if (HAL_CAN_GetTxMailboxesFreeLevel(&hcan1) > 0)
	  {
		  if (HAL_CAN_AddTxMessage(&hcan1, &TxHeader, TxData, &TxMailbox) != HAL_OK)
		  {
			  /* Transmission request Error */
			  Error_Handler();
		  }
	  }
}

/* My code from here */
void CAN1_Tx(uint8_t *data, uint8_t DLC, uint16_t ID)
{
	TxHeader.DLC = DLC;
	TxHeader.StdId = ID;

	if (HAL_CAN_GetTxMailboxesFreeLevel(&hcan1) > 0){
		//HAL_GPIO_WritePin(GPIOB, USR_LED3_PIN, GPIO_PIN_RESET);
		if(HAL_CAN_AddTxMessage(&hcan1,&TxHeader,data,&TxMailbox) != HAL_OK)
		{
			Error_Handler();
		}
		else {
			HAL_GPIO_TogglePin(USR_LED4_PORT, USR_LED4_PIN);
		}
	}
}

void ConfigureWheelDrive(uint16_t wheel, uint16_t controlMode, uint16_t mode, uint16_t driveState){

	/* CFG_CONTROL_MODE */
	TxData[0] = CFG_CONTROL_MODE;
	TxData[1] = 0x00;
	TxData[2] = 0x00;
	TxData[3] = 0x00;
	TxData[4] = controlMode;
	TxData[5] = 0x00;
	TxData[6] = 0x00;
	TxData[7] = 0x00;
	CAN1_Tx(TxData,8,CANid(0x0B,wheel,CAN_MESSAGETYPE_CONFIG));
	HAL_Delay(10);

	/* MODE_DRIVE */
	TxData[0] = CMD_MODE;
	TxData[1] = 0x00;
	TxData[2] = mode;
	TxData[3] = 0x00;
	CAN1_Tx(TxData,4,CANid(0x0B,wheel,CAN_MESSAGETYPE_COMMAND));
	HAL_Delay(10);

	/* STATE_STARTED */
	TxData[0] = CMD_DRIVE_STATE;
	TxData[1] = 0x00;
	TxData[2] = driveState;
	TxData[3] = 0x00;
	CAN1_Tx(TxData,4,CANid(0x0B,wheel,CAN_MESSAGETYPE_COMMAND));
	HAL_Delay(10);
}

void ConfigureSteeringServo(uint8_t mode){

	/* Steering servo CMD_MODE */
	TxData[0] = 0xBB;
	TxData[1] = mode;
	CAN1_Tx(TxData,2,CANid(0x0D,0x01,CAN_MESSAGETYPE_COMMAND));
	HAL_Delay(3000);
	SendServoReferenceMsg();
	HAL_Delay(1000);
}

void SendWheelReferenceMsg(uint8_t deviceID, float iRef, float nRef){
	// max 180 ms 2 ref jel kozott

	memcpy((void*)&TxData[0], (unsigned char *) (&iRef), 4);
	memcpy((void*)&TxData[4], (unsigned char *) (&nRef), 4);

	CAN1_Tx(TxData,8,CANid(0x0B,deviceID,CAN_MESSAGETYPE_REFERENCE));
}

void SendServoReferenceMsg(){
	int16_t ang = round(ref.steeringAngle/0.0219);
	TxData[0] = ang;
	TxData[1] = (ang >> 8);
	CAN1_Tx(TxData, 2, CANid(0x0D,0x01,CAN_MESSAGETYPE_REFERENCE));
}

void ConfigureServoNullpoint(){
	// MODE_START utan mukodik csak
	TxData[0] = 0xCC;
	TxData[1] = 0x00;
	TxData[2] = 0x00;
	TxData[3] = 0x00;
	TxData[4] = 0x00;
	CAN1_Tx(TxData,5,CANid(0x0D,0x01,CAN_MESSAGETYPE_CONFIG));
	HAL_Delay(1000);
}

void Ackermann(){
	float L, b, B, R;
	double alpha, beta, gamma = ((double)meas.angleSS*0.0219)/180*M_PI;
	float vFR, vFL, vRL, vRR;
	float rFR, rFL, rRL, rRR;
	float nFR, nFL, nRL, nRR;

	L = 0.56;  //[m]
	b = 0.33;  //[m]
	B = 0.5;   //[m]

	 if (gamma > 0) {
	        alpha = -1.542*0.00005*pow(gamma,3) - 0.0001613*pow(gamma,2) + 0.4268*gamma - 0.03554;
	        beta = atan(L/(1/gamma-b/2));
	        R = L/(tan(alpha))-b/2;

	        rFR = (R-B/2)/cos(beta);
	        rFL = (R+B/2)/cos(alpha);
	        rRL = R+B/2;
		    rRR = R-B/2;
	    }
	    else if (gamma < 0) {
	        alpha = -1*atan(L/(1/fabs(gamma)-b/2));
	        beta = -1*(-1.542*0.00005*pow(fabs(gamma),3) - 0.0001613*pow(fabs(gamma),2) + 0.4268*fabs(gamma) - 0.03554);
	        R = fabs(L/(tan(fabs(beta)))-b/2);

	        rFR = (R+B/2)/cos(beta);
	        rFL = (R-B/2)/cos(alpha);
	        rRL = R-B/2;
		    rRR = R+B/2;
	    }
	    else {
	        rFR = R;
	        Rfl = R;
	        rRL = R;
	        rRR = R;
	    }

		vFR = rFR/R*ref.velocity;
		vFL = rFL/R*ref.velocity;
		vRL = rRL/R*ref.velocity;
		vRR = rRR/R*ref.velocity;

	    nFR = vFR/((float)0.077/2)/(2*M_PI)*60;
	    nFL = vFL/((float)0.077/2)/(2*M_PI)*60;
	    nRL = vRL/((float)0.077/2)/(2*M_PI)*60;
	    nRR = vRR/((float)0.077/2)/(2*M_PI)*60;

	SendWheelReferenceMsg(0x01, 0, vFR); HAL_Delay(1);
	SendWheelReferenceMsg(0x02, 0, vFL); HAL_Delay(1);
	SendWheelReferenceMsg(0x03, 0, vRL); HAL_Delay(1);
	SendWheelReferenceMsg(0x04, 0, vRR); HAL_Delay(1);

}

void DiscoverUnits(){

	/* DISCOVER Steering servo */
	TxData[0] = 0x90;
	TxData[1] = 0x00;
	CAN1_Tx(TxData,2,CANid(0x0D,0x01,CAN_MESSAGETYPE_COMMAND));
	HAL_Delay(10);

	/* Discover wheel drivers */
	TxData[0] = CMD_DISCOVER;
	TxData[1] = 0x00;

	/* FR = 0x01, FL = 0x02, RL = 0x03, RR = 0x04 */
	CAN1_Tx(TxData,2,CANid(0x0B,0x01,0x00));
	HAL_Delay(10);
	CAN1_Tx(TxData,2,CANid(0x0B,0x02,0x00));
	HAL_Delay(10);
	CAN1_Tx(TxData,2,CANid(0x0B,0x03,0x00));
	HAL_Delay(10);
	CAN1_Tx(TxData,2,CANid(0x0B,0x04,0x00));
	HAL_Delay(10);
}

uint32_t CANid(uint16_t class, uint16_t device, uint16_t type){
	uint32_t id = ((class << 7) | (device << 3) | (type));
	return id;
}

void StateTransition(){
	char message[20];

	if (activeState == ERR){
		sprintf(message,"State: ERROR \n\r");
		PutsTxData((uint8_t *)message,strlen(message));
	}
	if (prevState == START1 && activeState == START2){
		sprintf(message,"State: START2 \n\r");
		PutsTxData((uint8_t *)message,strlen(message));
	}
	if (prevState == START2 && activeState == START3){
		sprintf(message,"State: START3 \n\r");
		PutsTxData((uint8_t *)message,strlen(message));
	}
	if (prevState == START3 && activeState == DRIVE){
		sprintf(message,"State: DRIVE \n\r");
		PutsTxData((uint8_t *)message,strlen(message));
	}
}

void UART2_RX(){
    uint8_t rch;
	int status;
	char message[20];
	float val;

	while (TestRxData() == SET)
	  {
		rch = GetcRxData();
		if (inmsgPnt > 0)
		  {
			if (rch == CR_C)
			  {
				// A complete command is in the buffer
				inmsgBuf[inmsgPnt] = NUL_C;
				// Processing the received command
				switch (inmsgBuf[1])
				  {
					case 'V':	// Velocity value received
						status = sscanf ((char *)(inmsgBuf+2),"%f",&val);
						//sprintf(message,"DL: %i\r\n",status);
						//PutsTxData((uint8_t *)message,strlen(message));
						if (fabs(val) < 10){
							ref.velocity = val;
							sprintf(message,"V=%f\r\n",val);
							PutsTxData((uint8_t *)message,strlen(message));
						}
						else {

							CMDerrorSignal();
						}
						break;

					case 'S':	// Steering angle value received
						status = sscanf ((char *)(inmsgBuf+2),"%f",&val);
						//sprintf(message,"DL: %i\r\n",status);
						//PutsTxData((uint8_t *)message,strlen(message));
						if (fabs(val) < 50){
							ref.steeringAngle = val;
							sprintf(message,"S=%f\r\n",val);
							PutsTxData((uint8_t *)message,strlen(message));
						}
						else {
							CMDerrorSignal();
						}
						break;
					default:
						CMDerrorSignal();
				  }
				inmsgPnt = 0;
			  }
			else
			  {
				// Character belonging to Command
				inmsgBuf[inmsgPnt] = rch;
				inmsgPnt++;
				if (inmsgPnt >= INMSG_SIZE)
				  {
					// Invalid command: too long
					inmsgPnt = 0;
				  }
			  }
		  }
		else
		  { // Waiting for Command Start character
			if (rch == '$')
			  {
				// Command Start character found
				inmsgBuf[0] = rch;
				inmsgPnt++;
			  }
			// else: done nothing - data is dropped
		  }
	  }
}

// Timer IT Callback
void HAL_TIM_PeriodElapsedCallback(TIM_HandleTypeDef *htim)
{
  // Check which version of the timer triggered this callback
  if (htim == &htim10)
  {
	SendServoReferenceMsg();
	Ackermann();
	UART2_RX();
  }
}

/* USER CODE END 4 */

void Error_Handler(void)
{
  /* USER CODE BEGIN Error_Handler_Debug */
  /* User can add his own implementation to report the HAL error return state */
	HAL_GPIO_WritePin(USR_LED6_GPIO_Port,USR_LED6_Pin,GPIO_PIN_SET);
	led6signCnt = ERRSIGN_PER;

  /* USER CODE END Error_Handler_Debug */
}

/************************ (C) COPYRIGHT STMicroelectronics *****END OF FILE****/
